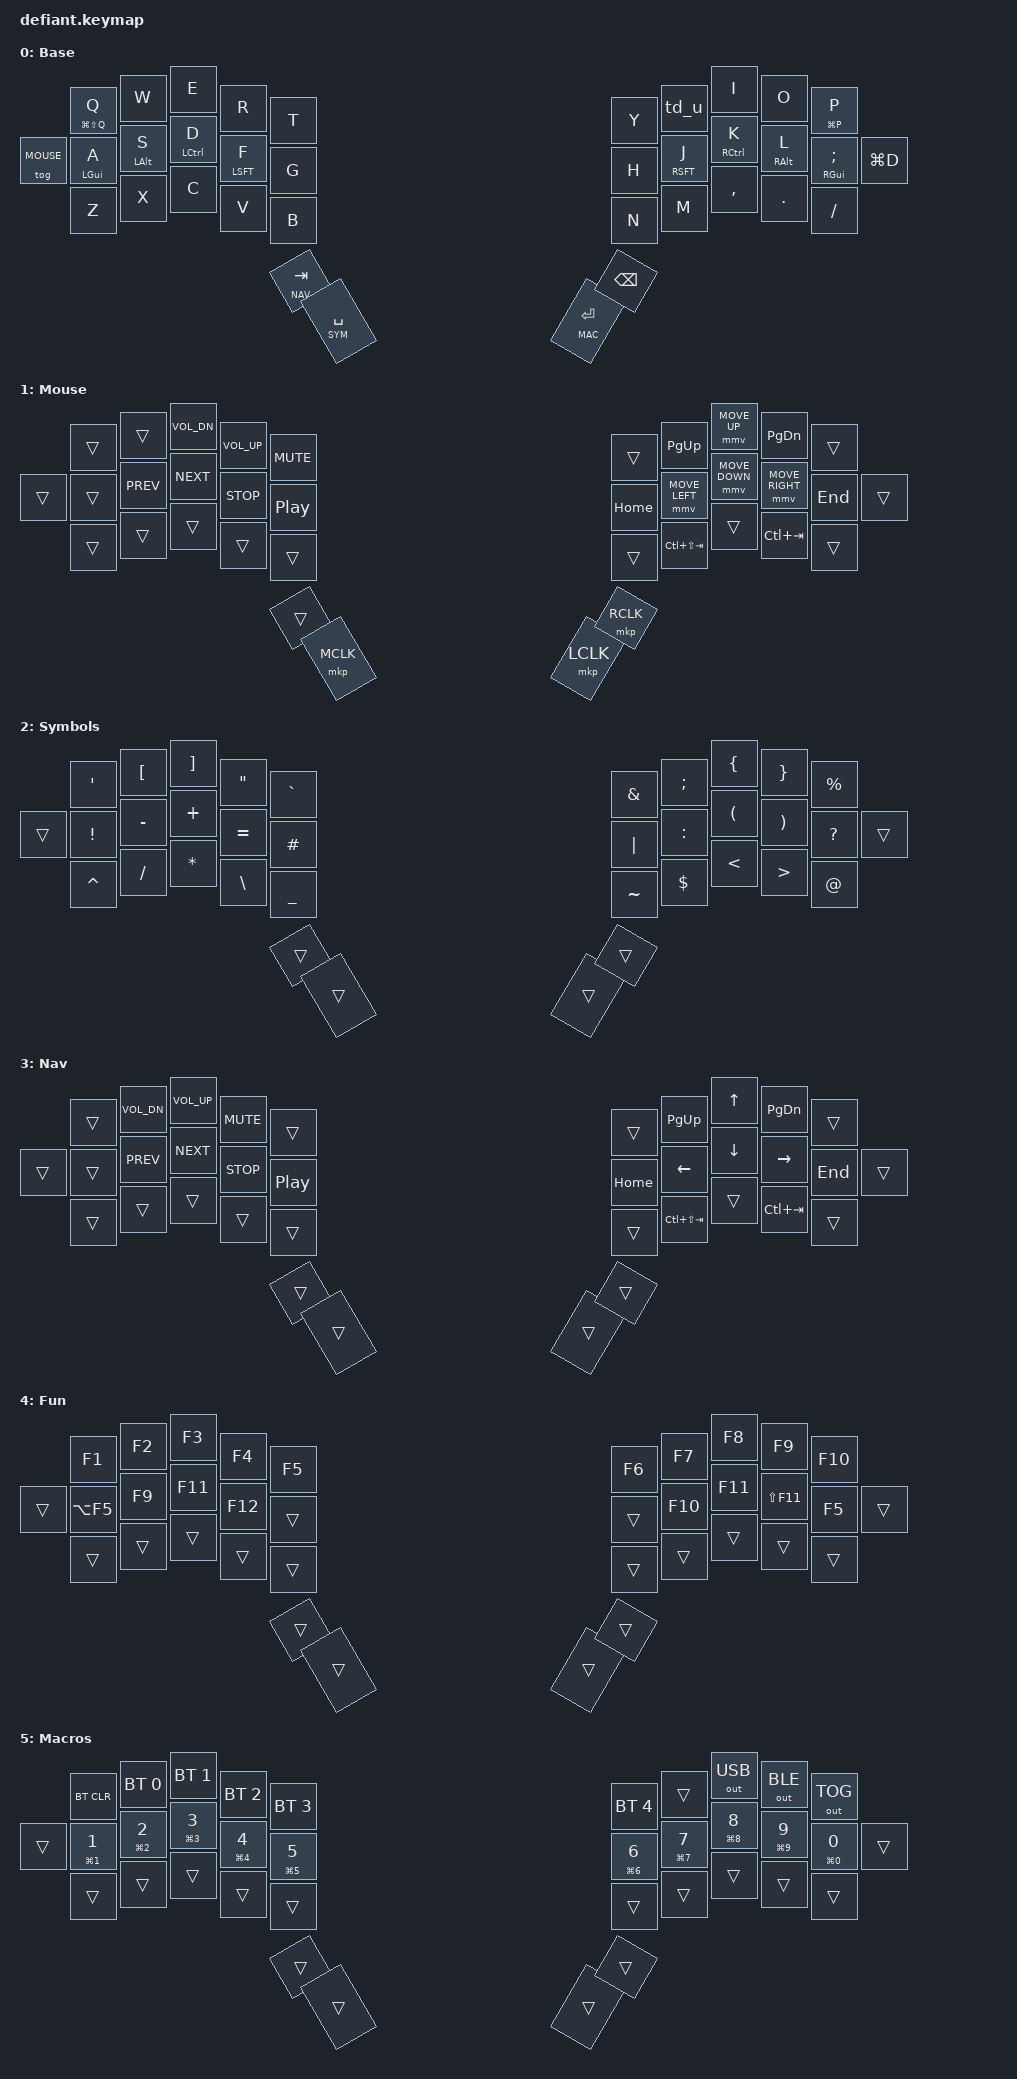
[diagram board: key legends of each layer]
#include <behaviors.dtsi>
#include <dt-bindings/zmk/keys.h>
#include <dt-bindings/zmk/bt.h>
#include <dt-bindings/zmk/outputs.h>
#include <dt-bindings/zmk/ext_power.h>
#include <dt-bindings/zmk/pointing.h>
#include <input/processors.dtsi>
#include <input/processors/scaler.dtsi>

// Layer indices
#define BASE  0
#define MOUSE 1
#define SYM   2
#define NAV   3
#define FUN   4
#define MAC   5

// Left-hand key positions (14): top row + home + bottom + side + 2 thumbs
#define KEYS_L 0 1 2 3 4   10 11 12 13 14   20 21 22 23 24   30   32 33
// Right-hand key positions (14): top + home + bottom + side + 2 thumbs
#define KEYS_R 5 6 7 8 9   15 16 17 18 19   25 26 27 28 29   31   34 35
// Thumb key positions
#define THUMBS 32 33 34 35

// Mouse tuning: scale up &mmv output and slow the ramp to match the Voyager QMK feel
// (MOUSEKEY_INTERVAL 15 + MOUSEKEY_TIME_TO_MAX 50 ≈ 750ms to max speed).
&mmv {
    time-to-max-speed-ms = <500>;
    acceleration-exponent = <1>;
    delay-ms = <0>;
};

&mmv_input_listener { input-processors = <&zip_xy_scaler 4 1>; };

/ {
    behaviors {
        // urob-style "timeless" home row mod — left-hand keys, triggered by RIGHT-hand key positions
        hml: home_row_mod_left {
            compatible = "zmk,behavior-hold-tap";
            #binding-cells = <2>;
            flavor = "balanced";
            tapping-term-ms = <280>;
            quick-tap-ms = <175>;
            require-prior-idle-ms = <150>;
            hold-trigger-key-positions = <KEYS_R THUMBS>;
            hold-trigger-on-release;
            bindings = <&kp>, <&kp>;
        };

        // urob-style HRM — right-hand keys, triggered by LEFT-hand key positions
        hmr: home_row_mod_right {
            compatible = "zmk,behavior-hold-tap";
            #binding-cells = <2>;
            flavor = "balanced";
            tapping-term-ms = <280>;
            quick-tap-ms = <175>;
            require-prior-idle-ms = <150>;
            hold-trigger-key-positions = <KEYS_L THUMBS>;
            hold-trigger-on-release;
            bindings = <&kp>, <&kp>;
        };

        // Generic tap-preferred hold-tap; used for Q (hold = lock) and P (hold = projector).
        // tap-preferred so shift+key still produces a capital letter.
        qp_ht: qp_hold_tap {
            compatible = "zmk,behavior-hold-tap";
            #binding-cells = <2>;
            flavor = "tap-preferred";
            tapping-term-ms = <250>;
            quick-tap-ms = <150>;
            bindings = <&kp>, <&kp>;
        };

        // Tap dance: single tap = U, double tap = Ctrl+Z (undo)
        td_u: tap_dance_u {
            compatible = "zmk,behavior-tap-dance";
            #binding-cells = <0>;
            tapping-term-ms = <200>;
            bindings = <&kp U>, <&kp LC(Z)>;
        };

        // Workspace switchers: tap = N, hold = LG+N (for workspace switching)
        // Using hold-tap with "hold-preferred" flavor for distinct tap vs hold
        ws_ht: workspace_hold_tap {
            compatible = "zmk,behavior-hold-tap";
            #binding-cells = <2>;
            flavor = "hold-preferred";
            tapping-term-ms = <200>;
            bindings = <&kp>, <&kp>;
        };
    };

    combos {
        compatible = "zmk,combos";
        // Combo: G + H → ESC (positions 14 = L inner home, 15 = R inner home)
        combo_esc {
            timeout-ms = <50>;
            key-positions = <14 15>;
            bindings = <&kp ESC>;
            require-prior-idle-ms = <150>;
        };
        // Combo: Q + W → LG+LS+ESC (lock / task manager)
        // Positions 0 = L pinky top (Q), 1 = L ring top (W)
        combo_lock {
            timeout-ms = <50>;
            key-positions = <0 1>;
            bindings = <&kp LG(LS(ESC))>;
            require-prior-idle-ms = <150>;
        };
    };

    keymap {
        compatible = "zmk,keymap";

        base_layer {
            display-name = "Base";
            // Key order (36 keys, matches matrix-transform map):
            //   Row 0: L top (pinky→inner), R top (inner→pinky)
            //   Row 1: L home,              R home
            //   Row 2: L bottom,            R bottom
            //   Row 3: L side,              R side
            //   Row 4: L thm_near, L thm_far, R thm_far, R thm_near
            bindings = <
// ╭─────────┬─────────┬─────────┬─────────┬─────────╮   ╭─────────┬─────────┬─────────┬─────────┬─────────╮
   &qp_ht LG(LS(Q)) Q  &kp W  &kp E  &kp R  &kp T       &kp Y  &td_u  &kp I  &kp O  &qp_ht LG(P) P
// ├─────────┼─────────┼─────────┼─────────┼─────────┤   ├─────────┼─────────┼─────────┼─────────┼─────────┤
   &hml LGUI A &hml LALT S &hml LCTL D &hml LSFT F &kp G  &kp H     &hmr RSFT J &hmr RCTL K &hmr RALT L &hmr RGUI SEMI
// ├─────────┼─────────┼─────────┼─────────┼─────────┤   ├─────────┼─────────┼─────────┼─────────┼─────────┤
   &kp Z      &kp X     &kp C     &kp V     &kp B         &kp N     &kp M     &kp COMMA &kp DOT   &kp FSLH
// ╰─────────┼─────────┼─────────┼─────────┼─────────┤   ├─────────┼─────────┼─────────┼─────────┼─────────╯
   &tog MOUSE                                             &kp LG(D)
//           ╭─────────┬─────────╮                                 ╭─────────┬─────────╮
             &lt NAV TAB &lt SYM SPACE                              &lt MAC ENTER &kp BSPC
//           ╰─────────┴─────────╯                                 ╰─────────┴─────────╯
            >;
        };

        mouse_layer {
            display-name = "Mouse";
            // Right-hand: cursor movement on IJKL, PG_UP/DN above, clicks on thumbs.
            // Left-hand: media controls. Left thumb-far = MCLK (middle click).
            bindings = <
   &trans  &trans         &kp C_VOL_DN   &kp C_VOL_UP  &kp C_MUTE       &trans    &kp PG_UP       &mmv MOVE_UP    &kp PG_DN       &trans
   &trans  &kp C_PREV     &kp C_NEXT     &kp C_STOP    &kp C_PP         &kp HOME  &mmv MOVE_LEFT  &mmv MOVE_DOWN  &mmv MOVE_RIGHT &kp END
   &trans  &trans         &trans         &trans        &trans           &trans    &kp LC(LS(TAB)) &trans          &kp LC(TAB)     &trans
   &trans                                                                                                                         &trans
                          &trans         &mkp MCLK                      &mkp LCLK &mkp RCLK
            >;
        };

        sym_layer {
            display-name = "Symbols";
            bindings = <
   &kp SQT   &kp LBKT  &kp RBKT  &kp DQT   &kp GRAVE      &kp AMPS  &kp SEMI  &kp LBRC  &kp RBRC  &kp PRCNT
   &kp EXCL  &kp MINUS &kp PLUS  &kp EQUAL &kp HASH       &kp PIPE  &kp COLON &kp LPAR  &kp RPAR  &kp QMARK
   &kp CARET &kp FSLH  &kp STAR  &kp BSLH  &kp UNDER      &kp TILDE &kp DLLR  &kp LT    &kp GT    &kp AT
   &trans                                                                                         &trans
                                 &trans    &trans         &trans    &trans
            >;
        };

        nav_layer {
            display-name = "Nav";
            bindings = <
   &trans  &kp C_VOL_DN   &kp C_VOL_UP   &kp C_MUTE    &trans           &trans    &kp PG_UP  &kp UP    &kp PG_DN  &trans
   &trans  &kp C_PREV     &kp C_NEXT     &kp C_STOP    &kp C_PP         &kp HOME  &kp LEFT   &kp DOWN  &kp RIGHT  &kp END
   &trans  &trans         &trans         &trans        &trans           &trans    &kp LC(LS(TAB)) &trans &kp LC(TAB) &trans
   &trans                                                                                                          &trans
                          &trans         &trans                         &trans    &trans
            >;
        };

        fun_layer {
            display-name = "Fun";
            bindings = <
   &kp F1    &kp F2    &kp F3    &kp F4    &kp F5         &kp F6    &kp F7    &kp F8    &kp F9    &kp F10
   &kp LA(F5) &kp F9   &kp F11   &kp F12   &trans         &trans    &kp F10   &kp F11   &kp LS(F11) &kp F5
   &trans    &trans    &trans    &trans    &trans         &trans    &trans    &trans    &trans    &trans
   &trans                                                                                         &trans
                       &trans    &trans                         &trans    &trans
            >;
        };

        mac_layer {
            display-name = "Macros";
            // Top row: BLE profile select + output controls. Home row: workspace switchers (tap=N, hold=LG+N).
            bindings = <
   &bt BT_CLR     &bt BT_SEL 0   &bt BT_SEL 1   &bt BT_SEL 2   &bt BT_SEL 3        &bt BT_SEL 4   &trans         &out OUT_USB   &out OUT_BLE   &out OUT_TOG
   &ws_ht LG(N1) N1  &ws_ht LG(N2) N2  &ws_ht LG(N3) N3  &ws_ht LG(N4) N4  &ws_ht LG(N5) N5   &ws_ht LG(N6) N6  &ws_ht LG(N7) N7  &ws_ht LG(N8) N8  &ws_ht LG(N9) N9  &ws_ht LG(N0) N0
   &trans         &trans         &trans         &trans         &trans              &trans         &trans         &trans         &trans         &trans
   &trans                                                                                                                                                        &trans
                                 &trans         &trans                                      &trans         &trans
            >;
        };
    };
};
